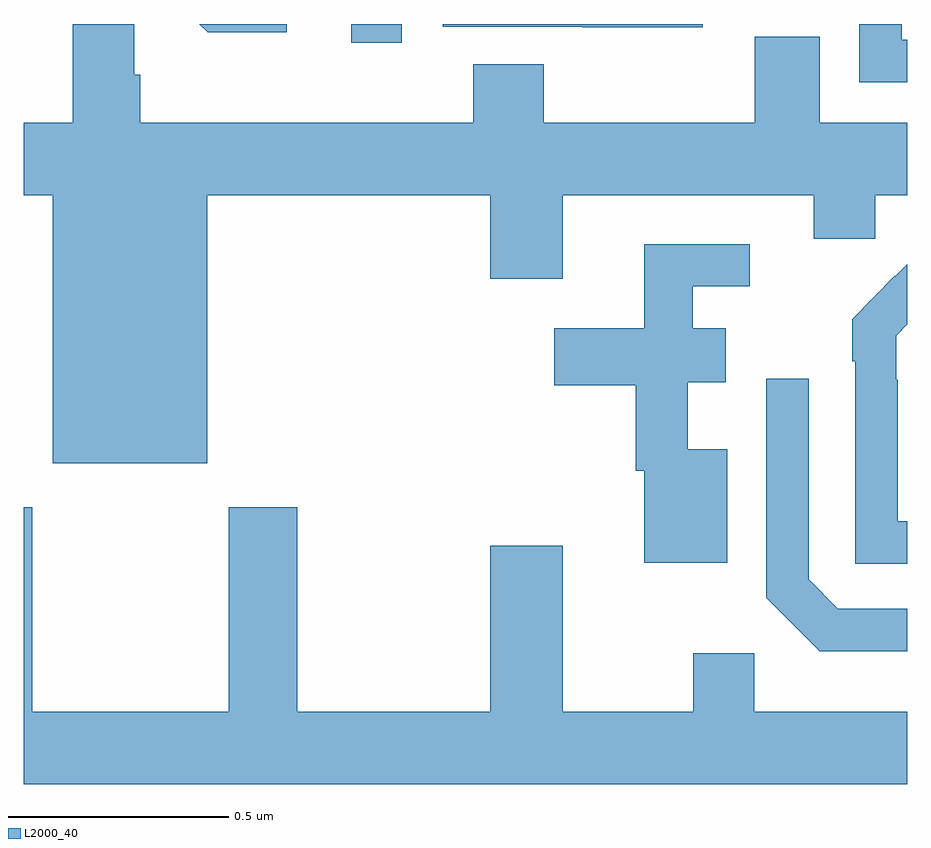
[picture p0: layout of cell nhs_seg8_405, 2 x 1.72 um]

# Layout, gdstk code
import gdstk
lib = gdstk.Library(unit=1e-6, precision=1e-09)
def R(c, l, rs):  # rectangles x0, y0, x1, y1
    for r in rs: c.add(gdstk.rectangle(r[:2], r[2:], *l))
def P(c, l, *ps):  # polygons
    for p in ps: c.add(gdstk.Polygon(p, *l))
L2000_40 = (2000, 40)

nhs_seg8_405 = lib.new_cell('nhs_seg8_405')
R(nhs_seg8_405, L2000_40, [(116.741,1104.858,116.856,1104.9)])
P(nhs_seg8_405, L2000_40, [(117.537,1104.9),(116.949,1104.9),(116.949,1104.894),(117.265,1104.894),(117.265,1104.893),(117.537,1104.893)],
  [(116.416,1104.512),(117.056,1104.512),(117.056,1104.324),(117.22,1104.324),(117.22,1104.512),(117.788,1104.512),(117.788,1104.414),(117.927,1104.414),(117.927,1104.512),(118,1104.512),(118,1104.676),(117.802,1104.676),(117.802,1104.871),(117.655,1104.871),(117.655,1104.676),(117.177,1104.676),(117.177,1104.809),(117.017,1104.809),(117.017,1104.676),(116.264,1104.676),(116.264,1104.785),(116.25,1104.785),(116.25,1104.9),(116.111,1104.9),(116.111,1104.676),(116,1104.676),(116,1104.512),(116.066,1104.512),(116.066,1103.906),(116.416,1103.906)],
  [(118,1104.864),(117.987,1104.864),(117.987,1104.9),(117.891,1104.9),(117.891,1104.768),(118,1104.768)],
  [(116.596,1104.9),(116.398,1104.9),(116.417,1104.881),(116.596,1104.881)],
  [(117.592,1103.938),(117.503,1103.938),(117.503,1104.089),(117.589,1104.089),(117.589,1104.211),(117.514,1104.211),(117.514,1104.306),(117.643,1104.306),(117.643,1104.402),(117.404,1104.402),(117.404,1104.211),(117.201,1104.211),(117.201,1104.082),(117.385,1104.082),(117.385,1103.889),(117.404,1103.889),(117.404,1103.681),(117.592,1103.681)],
  [(118,1103.775),(117.978,1103.775),(117.978,1104.095),(117.975,1104.095),(117.975,1104.195),(118,1104.22),(118,1104.356),(117.973,1104.329),(117.972,1104.33),(117.875,1104.232),(117.875,1104.137),(117.882,1104.137),(117.882,1103.679),(118,1103.679)],
  [(118,1103.577),(117.843,1103.577),(117.777,1103.643),(117.777,1104.097),(117.681,1104.097),(117.681,1103.601),(117.802,1103.48),(118,1103.48)],
  [(118,1103.344),(117.654,1103.344),(117.654,1103.476),(117.515,1103.476),(117.515,1103.344),(117.22,1103.344),(117.22,1103.719),(117.056,1103.719),(117.056,1103.344),(116.619,1103.344),(116.619,1103.806),(116.464,1103.806),(116.464,1103.344),(116.019,1103.344),(116.019,1103.806),(116,1103.806),(116,1103.18),(118,1103.18)])

lib.write_gds('nhs_seg8_405.gds')
